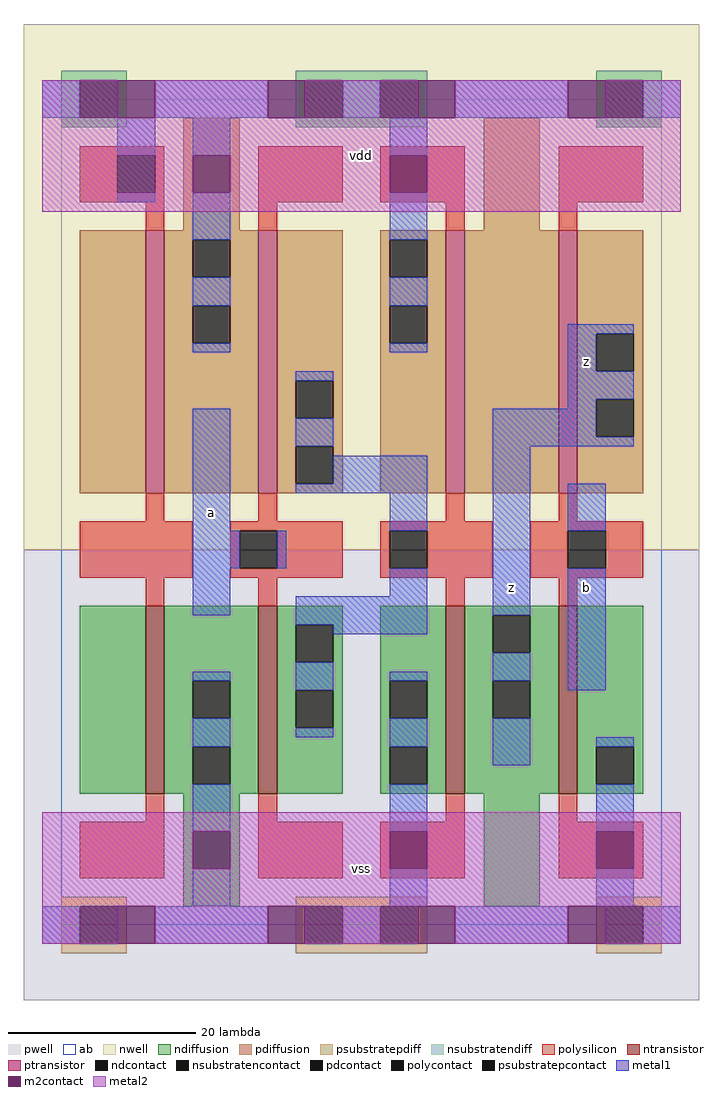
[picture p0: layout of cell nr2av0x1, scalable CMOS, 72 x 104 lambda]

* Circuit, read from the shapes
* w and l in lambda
.subckt nr2av0x1 a b vdd vss z
M1 vss vdd n1 vss nfet w=20 l=2
M2 n2 a vss vss nfet w=20 l=2
M3 z n2 vss vss nfet w=20 l=2
M4 vss b z vss nfet w=20 l=2
M5 vdd vdd n3 vdd pfet w=28 l=2
M6 n2 a vdd vdd pfet w=28 l=2
M7 n4 n2 vdd vdd pfet w=28 l=2
M8 z b n4 vdd pfet w=28 l=2
.ends

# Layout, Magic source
magic
tech scmos
<< ab >>
rect 0 0 64 88
<< pwell >>
rect -4 -8 68 40
<< nwell >>
rect -4 40 68 96
<< polysilicon >>
rect 2 82 11 83
rect 2 78 6 82
rect 10 78 11 82
rect 2 77 11 78
rect 9 74 11 77
rect 21 77 30 83
rect 34 77 43 83
rect 21 74 23 77
rect 41 74 43 77
rect 53 77 62 83
rect 53 74 55 77
rect 9 43 11 46
rect 21 43 23 46
rect 41 43 43 46
rect 53 43 55 46
rect 2 37 14 43
rect 18 42 30 43
rect 18 38 19 42
rect 23 38 30 42
rect 18 37 30 38
rect 34 42 46 43
rect 34 38 35 42
rect 39 38 46 42
rect 34 37 46 38
rect 50 42 62 43
rect 50 38 54 42
rect 58 38 62 42
rect 50 37 62 38
rect 9 34 11 37
rect 21 34 23 37
rect 41 34 43 37
rect 53 34 55 37
rect 9 11 11 14
rect 2 5 11 11
rect 21 11 23 14
rect 41 11 43 14
rect 21 5 30 11
rect 34 5 43 11
rect 53 11 55 14
rect 53 5 62 11
<< ndiffusion >>
rect 2 14 9 34
rect 11 26 21 34
rect 11 22 14 26
rect 18 22 21 26
rect 11 19 21 22
rect 11 15 14 19
rect 18 15 21 19
rect 11 14 21 15
rect 23 32 30 34
rect 23 28 25 32
rect 29 28 30 32
rect 23 25 30 28
rect 23 21 25 25
rect 29 21 30 25
rect 23 14 30 21
rect 34 26 41 34
rect 34 22 35 26
rect 39 22 41 26
rect 34 19 41 22
rect 34 15 35 19
rect 39 15 41 19
rect 34 14 41 15
rect 43 33 53 34
rect 43 29 46 33
rect 50 29 53 33
rect 43 26 53 29
rect 43 22 46 26
rect 50 22 53 26
rect 43 14 53 22
rect 55 19 62 34
rect 55 15 57 19
rect 61 15 62 19
rect 55 14 62 15
rect 13 2 19 14
rect 45 2 51 14
<< pdiffusion >>
rect 13 74 19 86
rect 45 74 51 86
rect 2 46 9 74
rect 11 73 21 74
rect 11 69 14 73
rect 18 69 21 73
rect 11 66 21 69
rect 11 62 14 66
rect 18 62 21 66
rect 11 46 21 62
rect 23 58 30 74
rect 23 54 25 58
rect 29 54 30 58
rect 23 51 30 54
rect 23 47 25 51
rect 29 47 30 51
rect 23 46 30 47
rect 34 73 41 74
rect 34 69 35 73
rect 39 69 41 73
rect 34 66 41 69
rect 34 62 35 66
rect 39 62 41 66
rect 34 46 41 62
rect 43 46 53 74
rect 55 63 62 74
rect 55 59 57 63
rect 61 59 62 63
rect 55 56 62 59
rect 55 52 57 56
rect 61 52 62 56
rect 55 46 62 52
<< metal1 >>
rect -2 86 2 90
rect 10 86 22 90
rect 30 86 34 90
rect 42 86 54 90
rect 62 86 66 90
rect 6 82 10 86
rect 6 77 10 78
rect 14 82 18 86
rect 14 73 18 78
rect 14 66 18 69
rect 14 61 18 62
rect 35 82 39 86
rect 35 73 39 78
rect 35 66 39 69
rect 35 61 39 62
rect 54 63 61 64
rect 54 59 57 63
rect 25 58 29 59
rect 14 42 18 55
rect 54 56 61 59
rect 54 55 57 56
rect 25 51 29 54
rect 46 52 57 55
rect 46 51 61 52
rect 29 47 39 50
rect 25 46 39 47
rect 35 42 39 46
rect 14 38 19 42
rect 23 38 24 42
rect 14 33 18 38
rect 35 35 39 38
rect 25 32 39 35
rect 29 31 39 32
rect 46 33 50 51
rect 14 26 18 27
rect 14 19 18 22
rect 25 25 29 28
rect 25 20 29 21
rect 35 26 39 27
rect 14 10 18 15
rect 14 2 18 6
rect 35 19 39 22
rect 46 26 50 29
rect 54 42 58 47
rect 54 25 58 38
rect 46 17 50 22
rect 57 19 61 20
rect 35 10 39 15
rect 35 2 39 6
rect 57 10 61 15
rect 57 2 61 6
rect -2 -2 2 2
rect 10 -2 22 2
rect 30 -2 34 2
rect 42 -2 54 2
rect 62 -2 66 2
<< metal2 >>
rect -2 86 6 90
rect 10 86 22 90
rect 26 86 38 90
rect 42 86 54 90
rect 58 86 66 90
rect -2 82 66 86
rect -2 78 14 82
rect 18 78 35 82
rect 39 78 66 82
rect -2 76 66 78
rect -2 10 66 12
rect -2 6 14 10
rect 18 6 35 10
rect 39 6 57 10
rect 61 6 66 10
rect -2 2 66 6
rect -2 -2 6 2
rect 10 -2 22 2
rect 26 -2 38 2
rect 42 -2 54 2
rect 58 -2 66 2
<< ntransistor >>
rect 9 14 11 34
rect 21 14 23 34
rect 41 14 43 34
rect 53 14 55 34
<< ptransistor >>
rect 9 46 11 74
rect 21 46 23 74
rect 41 46 43 74
rect 53 46 55 74
<< polycontact >>
rect 6 78 10 82
rect 19 38 23 42
rect 35 38 39 42
rect 54 38 58 42
<< ndcontact >>
rect 14 22 18 26
rect 14 15 18 19
rect 25 28 29 32
rect 25 21 29 25
rect 35 22 39 26
rect 35 15 39 19
rect 46 29 50 33
rect 46 22 50 26
rect 57 15 61 19
<< pdcontact >>
rect 14 69 18 73
rect 14 62 18 66
rect 25 54 29 58
rect 25 47 29 51
rect 35 69 39 73
rect 35 62 39 66
rect 57 59 61 63
rect 57 52 61 56
<< m2contact >>
rect 6 86 10 90
rect 22 86 26 90
rect 38 86 42 90
rect 54 86 58 90
rect 14 78 18 82
rect 35 78 39 82
rect 14 6 18 10
rect 35 6 39 10
rect 57 6 61 10
rect 6 -2 10 2
rect 22 -2 26 2
rect 38 -2 42 2
rect 54 -2 58 2
<< psubstratepcontact >>
rect 2 -2 6 2
rect 26 -2 30 2
rect 34 -2 38 2
rect 58 -2 62 2
<< nsubstratencontact >>
rect 2 86 6 90
rect 26 86 30 90
rect 34 86 38 90
rect 58 86 62 90
<< psubstratepdiff >>
rect 0 2 7 3
rect 25 2 39 3
rect 57 2 64 3
rect 0 -2 2 2
rect 6 -2 7 2
rect 0 -3 7 -2
rect 25 -2 26 2
rect 30 -2 34 2
rect 38 -2 39 2
rect 25 -3 39 -2
rect 57 -2 58 2
rect 62 -2 64 2
rect 57 -3 64 -2
<< nsubstratendiff >>
rect 0 90 7 91
rect 0 86 2 90
rect 6 86 7 90
rect 25 90 39 91
rect 25 86 26 90
rect 30 86 34 90
rect 38 86 39 90
rect 57 90 64 91
rect 57 86 58 90
rect 62 86 64 90
rect 0 85 7 86
rect 25 85 39 86
rect 57 85 64 86
<< labels >>
rlabel metal1 16 44 16 44 6 a
rlabel metal1 48 36 48 36 6 z
rlabel metal1 56 36 56 36 6 b
rlabel metal1 56 60 56 60 6 z
rlabel metal2 32 6 32 6 6 vss
rlabel metal2 32 82 32 82 6 vdd
<< end >>
